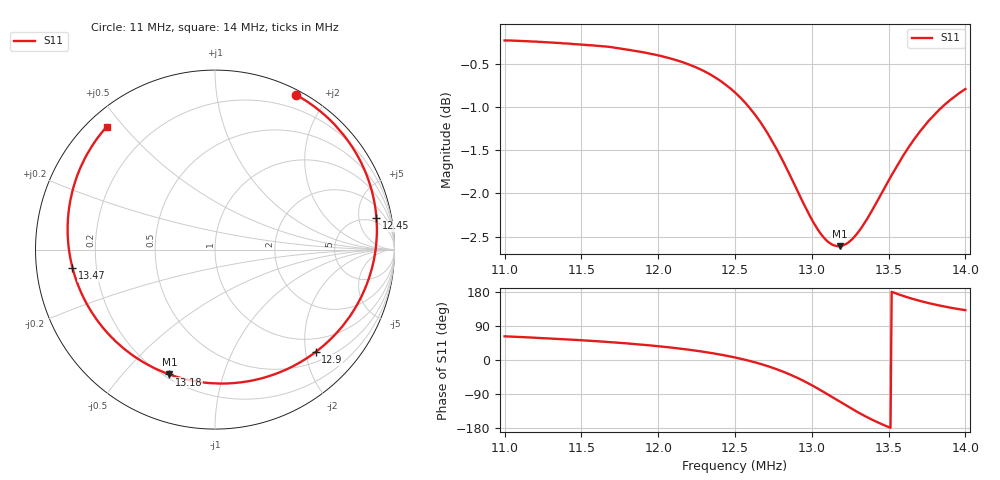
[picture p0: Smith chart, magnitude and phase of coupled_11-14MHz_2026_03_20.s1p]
# HZ S RI R 50
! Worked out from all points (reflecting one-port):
!   401 points, 11 MHz to 14 MHz, reference 50 ohm
!   lowest |S11| = -2.6 dB at 13.18 MHz (marker M1), VSWR 6.71, Z = 11 - j33.8 ohm
!   phase of S11 starts at 62 deg and turns -291 deg over the sweep
!   S11 on the Smith chart (normalised r, x): 11 MHz: 0.05, +1.65; 12.45 MHz: 3.91, +8.59; 12.9 MHz: 0.69, -2.20; 13.18 MHz: 0.22, -0.68; 13.47 MHz: 0.11, -0.06; 14 MHz: 0.06, +0.45
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1.1e7  0.4497 0.8634
1.1375e7  0.555 0.7952
1.175e7  0.6777 0.6844
1.19525e7  0.7504 0.5927
1.2125e7  0.8132 0.4868
1.229e7  0.8671 0.3506
1.24475e7  0.8997 0.1756
1.25e7  0.9022 0.106
1.2605e7  0.8863 -0.0521
1.27025e7  0.8343 -0.2207
1.27925e7  0.7407 -0.3868
1.2875e7  0.6064 -0.5337
1.28975e7  0.561 -0.5704
1.298e7  0.3609 -0.6835
1.30475e7  0.1652 -0.7368
1.3115e7  -0.0459 -0.7423
1.31825e7  -0.2544 -0.6953
1.325e7  -0.4421 -0.6004
1.331e7  -0.5803 -0.4845
1.33625e7  -0.6749 -0.3673
1.3415e7  -0.7442 -0.2432
1.3475e7  -0.7941 -0.1015
1.355e7  -0.8199 0.0657
1.3625e7  -0.8151 0.2156
1.3715e7  -0.7824 0.3689
1.3805e7  -0.7326 0.4935
1.391e7  -0.6647 0.6077
1.4e7  -0.6042 0.6838
